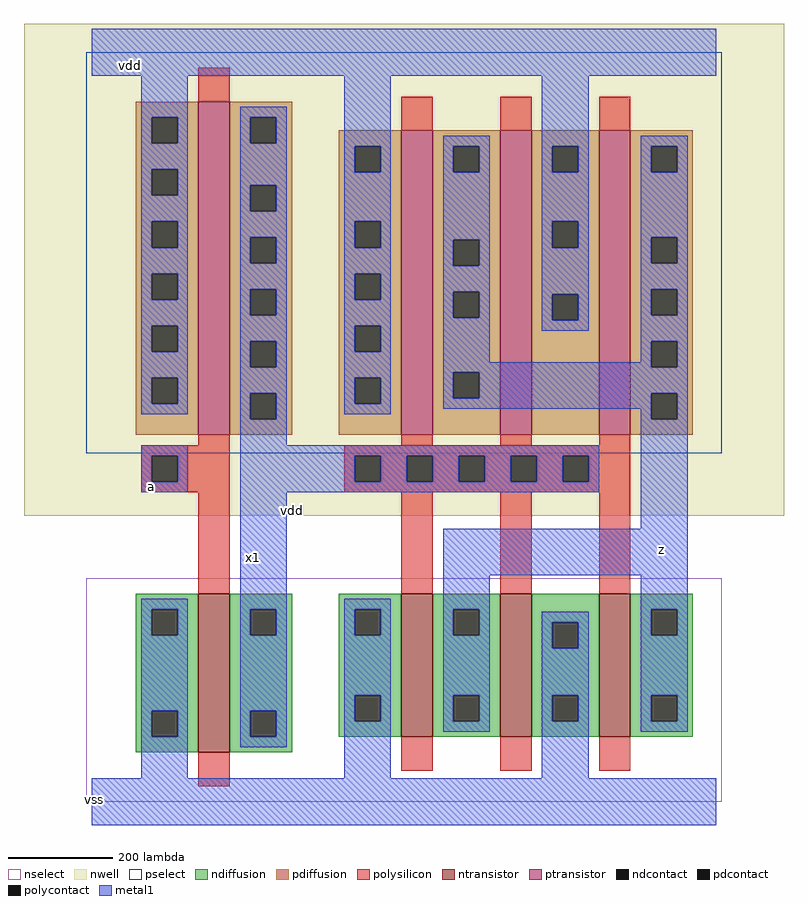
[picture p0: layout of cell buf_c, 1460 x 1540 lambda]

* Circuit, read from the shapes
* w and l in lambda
.subckt buf_c z a vdd vss
M1 x1 a vss VSUBS nfet w=305 l=60
M2 z x1 vss VSUBS nfet w=275 l=60 m=3
M3 x1 a vdd vdd pfet w=640 l=60
M4 z x1 vdd vdd pfet w=585 l=60 m=3
.ends

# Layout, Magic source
magic
tech amic5n
<< nwell >>
rect -130 550 1330 1495
<< ntransistor >>
rect 205 95 265 400
rect 595 125 655 400
rect 785 125 845 400
rect 975 125 1035 400
<< ptransistor >>
rect 205 705 265 1345
rect 595 705 655 1290
rect 785 705 845 1290
rect 975 705 1035 1290
<< nselect >>
rect -10 0 1210 430
<< pselect >>
rect -10 670 1210 1440
<< ndiffusion >>
rect 85 370 205 400
rect 85 320 115 370
rect 165 320 205 370
rect 85 175 205 320
rect 85 125 115 175
rect 165 125 205 175
rect 85 95 205 125
rect 265 370 385 400
rect 265 320 305 370
rect 355 320 385 370
rect 265 175 385 320
rect 265 125 305 175
rect 355 125 385 175
rect 475 370 595 400
rect 475 320 505 370
rect 555 320 595 370
rect 475 205 595 320
rect 475 155 505 205
rect 555 155 595 205
rect 475 125 595 155
rect 655 370 785 400
rect 655 320 695 370
rect 745 320 785 370
rect 655 205 785 320
rect 655 155 695 205
rect 745 155 785 205
rect 655 125 785 155
rect 845 345 975 400
rect 845 295 885 345
rect 935 295 975 345
rect 845 205 975 295
rect 845 155 885 205
rect 935 155 975 205
rect 845 125 975 155
rect 1035 370 1155 400
rect 1035 320 1075 370
rect 1125 320 1155 370
rect 1035 205 1155 320
rect 1035 155 1075 205
rect 1125 155 1155 205
rect 1035 125 1155 155
rect 265 95 385 125
<< pdiffusion >>
rect 85 1315 205 1345
rect 85 1265 115 1315
rect 165 1265 205 1315
rect 85 1215 205 1265
rect 85 1165 115 1215
rect 165 1165 205 1215
rect 85 1115 205 1165
rect 85 1065 115 1115
rect 165 1065 205 1115
rect 85 1015 205 1065
rect 85 965 115 1015
rect 165 965 205 1015
rect 85 915 205 965
rect 85 865 115 915
rect 165 865 205 915
rect 85 815 205 865
rect 85 765 115 815
rect 165 765 205 815
rect 85 705 205 765
rect 265 1315 385 1345
rect 265 1265 305 1315
rect 355 1265 385 1315
rect 265 1185 385 1265
rect 265 1135 305 1185
rect 355 1135 385 1185
rect 265 1085 385 1135
rect 265 1035 305 1085
rect 355 1035 385 1085
rect 265 985 385 1035
rect 265 935 305 985
rect 355 935 385 985
rect 265 885 385 935
rect 265 835 305 885
rect 355 835 385 885
rect 265 785 385 835
rect 265 735 305 785
rect 355 735 385 785
rect 265 705 385 735
rect 475 1260 595 1290
rect 475 1210 505 1260
rect 555 1210 595 1260
rect 475 1115 595 1210
rect 475 1065 505 1115
rect 555 1065 595 1115
rect 475 1015 595 1065
rect 475 965 505 1015
rect 555 965 595 1015
rect 475 915 595 965
rect 475 865 505 915
rect 555 865 595 915
rect 475 815 595 865
rect 475 765 505 815
rect 555 765 595 815
rect 475 705 595 765
rect 655 1260 785 1290
rect 655 1210 695 1260
rect 745 1210 785 1260
rect 655 1080 785 1210
rect 655 1030 695 1080
rect 745 1030 785 1080
rect 655 980 785 1030
rect 655 930 695 980
rect 745 930 785 980
rect 655 825 785 930
rect 655 775 695 825
rect 745 775 785 825
rect 655 705 785 775
rect 845 1260 975 1290
rect 845 1210 885 1260
rect 935 1210 975 1260
rect 845 1115 975 1210
rect 845 1065 885 1115
rect 935 1065 975 1115
rect 845 975 975 1065
rect 845 925 885 975
rect 935 925 975 975
rect 845 705 975 925
rect 1035 1260 1155 1290
rect 1035 1210 1075 1260
rect 1125 1210 1155 1260
rect 1035 1085 1155 1210
rect 1035 1035 1075 1085
rect 1125 1035 1155 1085
rect 1035 985 1155 1035
rect 1035 935 1075 985
rect 1125 935 1155 985
rect 1035 885 1155 935
rect 1035 835 1075 885
rect 1125 835 1155 885
rect 1035 785 1155 835
rect 1035 735 1075 785
rect 1125 735 1155 785
rect 1035 705 1155 735
<< ndcontact >>
rect 115 320 165 370
rect 115 125 165 175
rect 305 320 355 370
rect 305 125 355 175
rect 505 320 555 370
rect 505 155 555 205
rect 695 320 745 370
rect 695 155 745 205
rect 885 295 935 345
rect 885 155 935 205
rect 1075 320 1125 370
rect 1075 155 1125 205
<< pdcontact >>
rect 115 1265 165 1315
rect 115 1165 165 1215
rect 115 1065 165 1115
rect 115 965 165 1015
rect 115 865 165 915
rect 115 765 165 815
rect 305 1265 355 1315
rect 305 1135 355 1185
rect 305 1035 355 1085
rect 305 935 355 985
rect 305 835 355 885
rect 305 735 355 785
rect 505 1210 555 1260
rect 505 1065 555 1115
rect 505 965 555 1015
rect 505 865 555 915
rect 505 765 555 815
rect 695 1210 745 1260
rect 695 1030 745 1080
rect 695 930 745 980
rect 695 775 745 825
rect 885 1210 935 1260
rect 885 1065 935 1115
rect 885 925 935 975
rect 1075 1210 1125 1260
rect 1075 1035 1125 1085
rect 1075 935 1125 985
rect 1075 835 1125 885
rect 1075 735 1125 785
<< polysilicon >>
rect 205 1345 265 1410
rect 595 1290 655 1355
rect 785 1290 845 1355
rect 975 1290 1035 1355
rect 205 685 265 705
rect 595 685 655 705
rect 785 685 845 705
rect 975 685 1035 705
rect 95 665 265 685
rect 95 615 115 665
rect 165 615 265 665
rect 95 595 265 615
rect 485 665 1035 685
rect 485 615 505 665
rect 555 615 605 665
rect 655 615 705 665
rect 755 615 805 665
rect 855 615 905 665
rect 955 615 1035 665
rect 485 595 1035 615
rect 205 400 265 595
rect 595 400 655 595
rect 785 400 845 595
rect 975 400 1035 595
rect 205 30 265 95
rect 595 60 655 125
rect 785 60 845 125
rect 975 60 1035 125
<< polycontact >>
rect 115 615 165 665
rect 505 615 555 665
rect 605 615 655 665
rect 705 615 755 665
rect 805 615 855 665
rect 905 615 955 665
<< metal1 >>
rect 0 1395 1200 1485
rect 95 1315 185 1395
rect 95 1265 115 1315
rect 165 1265 185 1315
rect 95 1215 185 1265
rect 95 1165 115 1215
rect 165 1165 185 1215
rect 95 1115 185 1165
rect 95 1065 115 1115
rect 165 1065 185 1115
rect 95 1015 185 1065
rect 95 965 115 1015
rect 165 965 185 1015
rect 95 915 185 965
rect 95 865 115 915
rect 165 865 185 915
rect 95 815 185 865
rect 95 765 115 815
rect 165 765 185 815
rect 95 745 185 765
rect 285 1315 375 1335
rect 285 1265 305 1315
rect 355 1265 375 1315
rect 285 1185 375 1265
rect 285 1135 305 1185
rect 355 1135 375 1185
rect 285 1085 375 1135
rect 285 1035 305 1085
rect 355 1035 375 1085
rect 285 985 375 1035
rect 285 935 305 985
rect 355 935 375 985
rect 285 885 375 935
rect 285 835 305 885
rect 355 835 375 885
rect 285 785 375 835
rect 285 735 305 785
rect 355 735 375 785
rect 485 1260 575 1395
rect 485 1210 505 1260
rect 555 1210 575 1260
rect 485 1115 575 1210
rect 485 1065 505 1115
rect 555 1065 575 1115
rect 485 1015 575 1065
rect 485 965 505 1015
rect 555 965 575 1015
rect 485 915 575 965
rect 485 865 505 915
rect 555 865 575 915
rect 485 815 575 865
rect 485 765 505 815
rect 555 765 575 815
rect 485 745 575 765
rect 675 1260 765 1280
rect 675 1210 695 1260
rect 745 1210 765 1260
rect 675 1080 765 1210
rect 675 1030 695 1080
rect 745 1030 765 1080
rect 675 980 765 1030
rect 675 930 695 980
rect 745 930 765 980
rect 675 845 765 930
rect 865 1260 955 1395
rect 865 1210 885 1260
rect 935 1210 955 1260
rect 865 1115 955 1210
rect 865 1065 885 1115
rect 935 1065 955 1115
rect 865 975 955 1065
rect 865 925 885 975
rect 935 925 955 975
rect 865 905 955 925
rect 1055 1260 1145 1280
rect 1055 1210 1075 1260
rect 1125 1210 1145 1260
rect 1055 1085 1145 1210
rect 1055 1035 1075 1085
rect 1125 1035 1145 1085
rect 1055 985 1145 1035
rect 1055 935 1075 985
rect 1125 935 1145 985
rect 1055 885 1145 935
rect 1055 845 1075 885
rect 675 835 1075 845
rect 1125 835 1145 885
rect 675 825 1145 835
rect 675 775 695 825
rect 745 785 1145 825
rect 745 775 1075 785
rect 675 755 1075 775
rect 285 685 375 735
rect 1055 735 1075 755
rect 1125 735 1145 785
rect 95 665 185 685
rect 95 615 115 665
rect 165 615 185 665
rect 95 595 185 615
rect 285 665 975 685
rect 285 615 505 665
rect 555 615 605 665
rect 655 615 705 665
rect 755 615 805 665
rect 855 615 905 665
rect 955 615 975 665
rect 285 595 975 615
rect 95 370 185 390
rect 95 320 115 370
rect 165 320 185 370
rect 95 175 185 320
rect 95 125 115 175
rect 165 125 185 175
rect 95 45 185 125
rect 285 370 375 595
rect 1055 525 1145 735
rect 675 435 1145 525
rect 285 320 305 370
rect 355 320 375 370
rect 285 175 375 320
rect 285 125 305 175
rect 355 125 375 175
rect 285 105 375 125
rect 485 370 575 390
rect 485 320 505 370
rect 555 320 575 370
rect 485 205 575 320
rect 485 155 505 205
rect 555 155 575 205
rect 485 45 575 155
rect 675 370 765 435
rect 675 320 695 370
rect 745 320 765 370
rect 1055 370 1145 435
rect 675 205 765 320
rect 675 155 695 205
rect 745 155 765 205
rect 675 135 765 155
rect 865 345 955 365
rect 865 295 885 345
rect 935 295 955 345
rect 865 205 955 295
rect 865 155 885 205
rect 935 155 955 205
rect 865 45 955 155
rect 1055 320 1075 370
rect 1125 320 1145 370
rect 1055 205 1145 320
rect 1055 155 1075 205
rect 1125 155 1145 205
rect 1055 135 1145 155
rect 0 -45 1200 45
<< labels >>
flabel metal1 s 5 5 5 5 2 FreeSans 200 0 0 0 vss
port 3 ne
flabel metal1 s 75 1415 75 1415 2 FreeSans 400 0 0 0 vdd
port 2 ne
flabel metal1 s 1095 485 1095 485 2 FreeSans 400 0 0 0 z
port 0 ne
flabel nwell 385 560 385 560 2 FreeSans 400 0 0 0 vdd
flabel metal1 s 115 605 115 605 2 FreeSans 400 0 0 0 a
port 1 ne
flabel metal1 s 310 470 310 470 2 FreeSans 200 0 0 0 x1
<< properties >>
string FIXED_BBOX 0 0 1200 1440
string LEFclass CORE
string LEFsite core
string LEFsymmetry X Y
<< end >>
